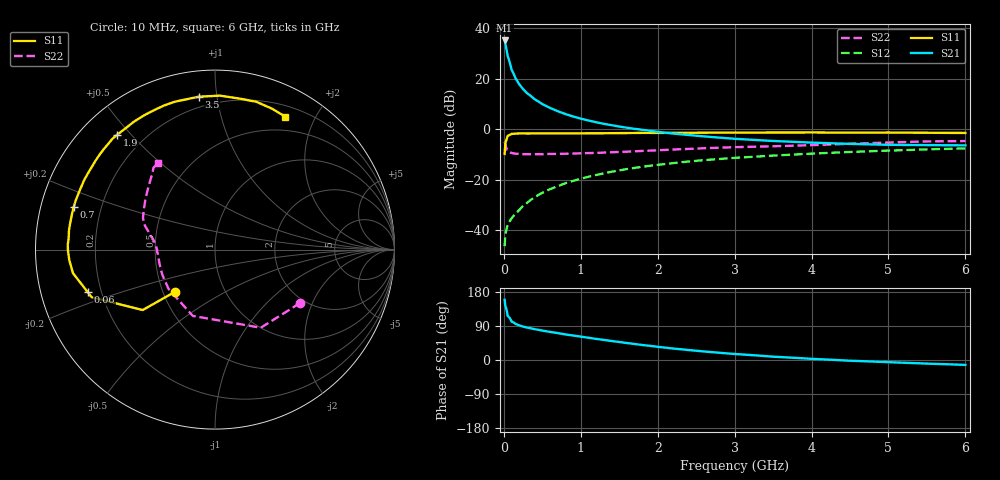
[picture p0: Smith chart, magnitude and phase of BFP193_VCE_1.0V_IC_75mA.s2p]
! (c) 2017  Infineon Technologies AG, Munich
! Infineon Technologies  Discrete & RF Semiconductors
! BFP193
! VCE =  1.0 V,  IC =  75 mA
! Common Emitter S-Parameters:  Jan 2017
# GHz  S  MA  R  50
!  f  S11  S21  S12  S22
! GHz  MAG  ANG  MAG  ANG  MAG  ANG  MAG  ANG
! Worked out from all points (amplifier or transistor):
!   77 points, 10 MHz to 6 GHz, reference 50 ohm
!   highest |S21| = 35.1 dB at 10 MHz (marker M1)
!   |S21| within 3 dB of that: start of sweep to 30.91 MHz
!   unconditionally stable (mu >= 1): start of sweep to 11.9 MHz; 177.8 MHz to end of sweep
!   at 130 MHz: K = 0.88, MSG = 28.0 dB, |S12| = -34.2 dB
!   at 2.2 GHz: K = 1.09, MAG = 4.0 dB, |S12| = -13.5 dB
!   at 6 GHz: K = 1.06, MAG = -0.9 dB, |S12| = -7.6 dB
!   S11 on the Smith chart (normalised r, x): 10 MHz: 0.58, -0.30; 60 MHz: 0.15, -0.16; 700 MHz: 0.10, +0.15; 1.9 GHz: 0.11, +0.46; 3.5 GHz: 0.14, +0.89; 6 GHz: 0.32, +1.61
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0.01  0.3224 -133.4  56.91 158.8  0.0048 68.1  0.5599 -32.1
0.02  0.525 -140.1  48.71 142.2  0.0081 58.2  0.5047 -59.6
0.05  0.7367 -158.9  27.77 116.2  0.0128 47.6  0.3895 -108.5
0.06  0.7472 -161.4  25.16 114.5  0.0136 48.8  0.3711 -114.0
0.1  0.8022 -170.6  15.13 101.6  0.017 52.3  0.3389 -139.9
0.15  0.8139 -175.9  10.25 95.5  0.021 56.2  0.3259 -153.0
0.2  0.8189 -179.3  7.731 91.3  0.0249 61.3  0.322 -160.3
0.25  0.821 178.1  6.196 88.1  0.0303 63.0  0.319 -164.7
0.3  0.818 175.9  5.17 85.7  0.0345 65.1  0.3183 -168.1
0.4  0.8206 172.3  3.903 81.3  0.0447 67.4  0.3181 -172.3
0.5  0.8203 168.9  3.128 77.6  0.0547 68.4  0.3188 -175.3
0.7  0.8225 163.2  2.261 71.0  0.0739 68.2  0.3223 -179.8
0.9  0.8224 157.2  1.774 64.6  0.0941 66.4  0.3282 177.4
1.1  0.8257 151.8  1.479 58.7  0.1138 64.3  0.335 174.6
1.5  0.8322 141.0  1.123 47.5  0.1518 58.9  0.3524 170.0
1.9  0.8405 130.3  0.924 37.4  0.1878 53.0  0.3746 166.2
2.1  0.8407 125.0  0.848 32.6  0.2036 50.0  0.3871 164.5
3.1  0.8526 103.5  0.63 14.6  0.2746 35.4  0.4419 154.9
3.5  0.8567 96.1  0.582 8.8  0.2985 30.4  0.457 150.1
4.1  0.8559 86.6  0.533 2.1  0.3314 22.7  0.4866 141.9
5.1  0.8527 73.1  0.487 -6.5  0.3792 10.6  0.5479 129.8
6  0.8377 62.2  0.476 -12.9  0.415 0.5  0.5793 123.3
